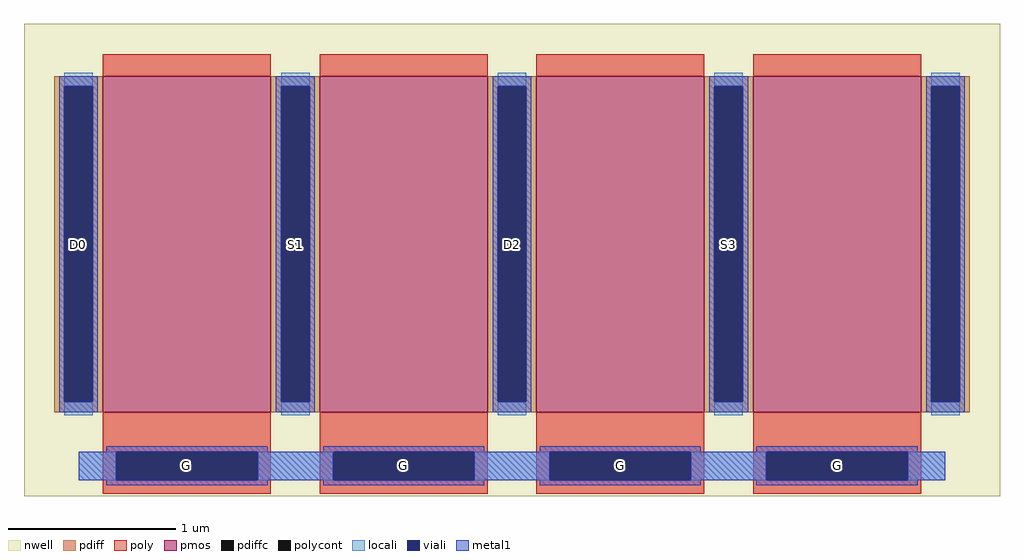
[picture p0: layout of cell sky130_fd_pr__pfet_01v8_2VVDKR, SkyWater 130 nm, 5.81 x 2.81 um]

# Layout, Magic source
magic
tech sky130A
magscale 1 2
<< nwell >>
rect -581 -264 581 298
<< pmos >>
rect -487 -164 -287 236
rect -229 -164 -29 236
rect 29 -164 229 236
rect 287 -164 487 236
<< pdiff >>
rect -545 224 -487 236
rect -545 -152 -533 224
rect -499 -152 -487 224
rect -545 -164 -487 -152
rect -287 224 -229 236
rect -287 -152 -275 224
rect -241 -152 -229 224
rect -287 -164 -229 -152
rect -29 224 29 236
rect -29 -152 -17 224
rect 17 -152 29 224
rect -29 -164 29 -152
rect 229 224 287 236
rect 229 -152 241 224
rect 275 -152 287 224
rect 229 -164 287 -152
rect 487 224 545 236
rect 487 -152 499 224
rect 533 -152 545 224
rect 487 -164 545 -152
<< pdiffc >>
rect -533 -152 -499 224
rect -275 -152 -241 224
rect -17 -152 17 224
rect 241 -152 275 224
rect 499 -152 533 224
<< poly >>
rect -487 236 -287 262
rect -229 236 -29 262
rect 29 236 229 262
rect 287 236 487 262
rect -487 -211 -287 -164
rect -487 -245 -471 -211
rect -303 -245 -287 -211
rect -487 -261 -287 -245
rect -229 -211 -29 -164
rect -229 -245 -213 -211
rect -45 -245 -29 -211
rect -229 -261 -29 -245
rect 29 -211 229 -164
rect 29 -245 45 -211
rect 213 -245 229 -211
rect 29 -261 229 -245
rect 287 -211 487 -164
rect 287 -245 303 -211
rect 471 -245 487 -211
rect 287 -261 487 -245
<< polycont >>
rect -471 -245 -303 -211
rect -213 -245 -45 -211
rect 45 -245 213 -211
rect 303 -245 471 -211
<< locali >>
rect -533 224 -499 240
rect -533 -168 -499 -152
rect -275 224 -241 240
rect -275 -168 -241 -152
rect -17 224 17 240
rect -17 -168 17 -152
rect 241 224 275 240
rect 241 -168 275 -152
rect 499 224 533 240
rect 499 -168 533 -152
rect -516 -245 -471 -211
rect -303 -245 -213 -211
rect -45 -245 45 -211
rect 213 -245 303 -211
rect 471 -245 516 -211
<< viali >>
rect -533 -152 -499 224
rect -275 -152 -241 224
rect -17 -152 17 224
rect 241 -152 275 224
rect 499 -152 533 224
rect -471 -245 -303 -211
rect -213 -245 -45 -211
rect 45 -245 213 -211
rect 303 -245 471 -211
<< metal1 >>
rect -539 224 -493 236
rect -539 -152 -533 224
rect -499 -152 -493 224
rect -539 -164 -493 -152
rect -281 224 -235 236
rect -281 -152 -275 224
rect -241 -152 -235 224
rect -281 -164 -235 -152
rect -23 224 23 236
rect -23 -152 -17 224
rect 17 -152 23 224
rect -23 -164 23 -152
rect 235 224 281 236
rect 235 -152 241 224
rect 275 -152 281 224
rect 235 -164 281 -152
rect 493 224 539 236
rect 493 -152 499 224
rect 533 -152 539 224
rect 493 -164 539 -152
rect -483 -211 -291 -205
rect -225 -211 -33 -205
rect 33 -211 225 -205
rect 291 -211 483 -205
rect -516 -245 -471 -211
rect -303 -245 -213 -211
rect -45 -245 45 -211
rect 213 -245 303 -211
rect 471 -245 516 -211
rect -483 -251 -291 -245
rect -225 -251 -33 -245
rect 33 -251 225 -245
rect 291 -251 483 -245
<< labels >>
rlabel pdiffc -516 36 -516 36 0 D0
port 1 nsew
rlabel polycont -387 -228 -387 -228 0 G
port 2 nsew
rlabel pdiffc -258 36 -258 36 0 S1
port 3 nsew
rlabel polycont -129 -228 -129 -228 0 G
port 2 nsew
rlabel pdiffc 0 36 0 36 0 D2
port 4 nsew
rlabel polycont 129 -228 129 -228 0 G
port 2 nsew
rlabel pdiffc 258 36 258 36 0 S3
port 5 nsew
rlabel polycont 387 -228 387 -228 0 G
port 2 nsew
<< properties >>
string gencell sky130_fd_pr__pfet_01v8
string library sky130
string parameters w 2 l 1 m 1 nf 4 diffcov 100 polycov 100 guard 0 glc 1 grc 1 gtc 1 gbc 1 tbcov 100 rlcov 100 topc 0 botc 1 poverlap 0 doverlap 1 lmin 0.15 wmin 0.42 class mosfet compatible {sky130_fd_pr__pfet_01v8  sky130_fd_pr__pfet_01v8_lvt sky130_fd_pr__pfet_01v8_hvt  sky130_fd_pr__pfet_g5v0d10v5} full_metal 0 conn_gates 1 viasrc 100 viadrn 100 viagate 100 viagb 0 viagr 0 viagl 0 viagt 0 doports 1
<< end >>
